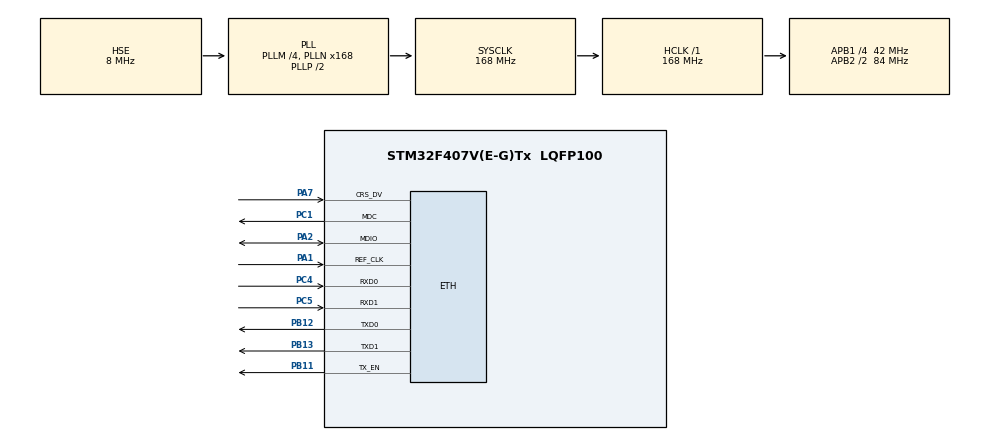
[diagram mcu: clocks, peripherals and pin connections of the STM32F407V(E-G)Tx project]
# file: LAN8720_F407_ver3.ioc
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ETH.MediaInterface=ETH_MEDIA_INTERFACE_RMII
ETH.RxMode=ETH_RXINTERRUPT_MODE
FREERTOS.Tasks01=defaultTask,0,256,StartDefaultTask,Default,NULL,Dynamic,NULL,NULL
FREERTOS.configMINIMAL_STACK_SIZE=256
LWIP.IP_ADDRESS=192.168.000.010
LWIP.LWIP_DHCP=0
LWIP.NETMASK_ADDRESS=255.255.255.000
LWIP.Version=v2.1.2_Cube
Mcu.Family=STM32F4
Mcu.Name=STM32F407V(E-G)Tx
Mcu.Package=LQFP100
NVIC.ETH_IRQn=true\:5\:0\:true\:false\:true\:false\:false\:true
NVIC.PriorityGroup=NVIC_PRIORITYGROUP_4
NVIC.TIM1_UP_TIM10_IRQn=true\:0\:0\:false\:false\:true\:false\:false\:true
NVIC.TimeBase=TIM1_UP_TIM10_IRQn
NVIC.TimeBaseIP=TIM1
PA1.Mode=RMII
PA1.Signal=ETH_REF_CLK
PA13.Mode=Serial_Wire
PA13.Signal=SYS_JTMS-SWDIO
PA14.Mode=Serial_Wire
PA14.Signal=SYS_JTCK-SWCLK
PA2.Mode=RMII
PA2.Signal=ETH_MDIO
PA7.Mode=RMII
PA7.Signal=ETH_CRS_DV
PB11.Mode=RMII
PB11.Signal=ETH_TX_EN
PB12.Mode=RMII
PB12.Signal=ETH_TXD0
PB13.Mode=RMII
PB13.Signal=ETH_TXD1
PC1.Mode=RMII
PC1.Signal=ETH_MDC
PC4.Mode=RMII
PC4.Signal=ETH_RXD0
PC5.Mode=RMII
PC5.Signal=ETH_RXD1
PH0-OSC_IN.Mode=HSE-External-Oscillator
PH0-OSC_IN.Signal=RCC_OSC_IN
PH1-OSC_OUT.Mode=HSE-External-Oscillator
PH1-OSC_OUT.Signal=RCC_OSC_OUT
ProjectManager.HeapSize=0x200
ProjectManager.StackSize=0x400
ProjectManager.TargetToolchain=STM32CubeIDE
RCC.48MHZClocksFreq_Value=84000000
RCC.AHBFreq_Value=168000000
RCC.APB1CLKDivider=RCC_HCLK_DIV4
RCC.APB1Freq_Value=42000000
RCC.APB1TimFreq_Value=84000000
RCC.APB2CLKDivider=RCC_HCLK_DIV2
RCC.APB2Freq_Value=84000000
RCC.APB2TimFreq_Value=168000000
RCC.CortexFreq_Value=168000000
RCC.HCLKFreq_Value=168000000
RCC.HSE_VALUE=8000000
RCC.HSI_VALUE=16000000
RCC.LSE_VALUE=32768
RCC.PLLM=4
RCC.PLLN=168
RCC.PLLSourceVirtual=RCC_PLLSOURCE_HSE
RCC.SYSCLKFreq_VALUE=168000000
RCC.SYSCLKSource=RCC_SYSCLKSOURCE_PLLCLK
RCC.VCOOutputFreq_Value=336000000
VP_FREERTOS_VS_CMSIS_V1.Mode=CMSIS_V1
VP_LWIP_VS_Enabled.Mode=Enabled
VP_SYS_VS_tim1.Mode=TIM1
board=custom

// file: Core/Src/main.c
/* USER CODE BEGIN Header */
/**
  ******************************************************************************
  * @file           : main.c
  * @brief          : Main program body
  ******************************************************************************
  * @attention
  *
  * <h2><center>&copy; Copyright (c) 2020 STMicroelectronics.
  * All rights reserved.</center></h2>
  *
  * This software component is licensed by ST under BSD 3-Clause license,
  * the "License"; You may not use this file except in compliance with the
  * License. You may obtain a copy of the License at:
  *                        opensource.org/licenses/BSD-3-Clause
  *
  ******************************************************************************
  */
/* USER CODE END Header */
#include "main.h"
#include "cmsis_os.h"
#include "lwip.h"
#include "gpio.h"

void SystemClock_Config(void);
void MX_FREERTOS_Init(void);
/* USER CODE BEGIN PFP */
extern void initialise_monitor_handles(void);
/* USER CODE END PFP */

int main(void)
{
  /* USER CODE BEGIN 1 */
	initialise_monitor_handles();
  /* USER CODE END 1 */

  /* MCU Configuration--------------------------------------------------------*/

  /* Reset of all peripherals, Initializes the Flash interface and the Systick. */
  HAL_Init();

  /* Configure the system clock */
  SystemClock_Config();

  /* Initialize all configured peripherals */
  MX_GPIO_Init();

  /* Call init function for freertos objects (in freertos.c) */
  MX_FREERTOS_Init();
  /* Start scheduler */
  osKernelStart();

  /* We should never get here as control is now taken by the scheduler */
  /* Infinite loop */
  while (1)
  {

  }
}

void SystemClock_Config(void)
{
  RCC_OscInitTypeDef RCC_OscInitStruct = {0};
  RCC_ClkInitTypeDef RCC_ClkInitStruct = {0};

  /** Configure the main internal regulator output voltage
  */
  __HAL_RCC_PWR_CLK_ENABLE();
  __HAL_PWR_VOLTAGESCALING_CONFIG(PWR_REGULATOR_VOLTAGE_SCALE1);
  /** Initializes the RCC Oscillators according to the specified parameters
  * in the RCC_OscInitTypeDef structure.
  */
  RCC_OscInitStruct.OscillatorType = RCC_OSCILLATORTYPE_HSE;
  RCC_OscInitStruct.HSEState = RCC_HSE_ON;
  RCC_OscInitStruct.PLL.PLLState = RCC_PLL_ON;
  RCC_OscInitStruct.PLL.PLLSource = RCC_PLLSOURCE_HSE;
  RCC_OscInitStruct.PLL.PLLM = 4;
  RCC_OscInitStruct.PLL.PLLN = 168;
  RCC_OscInitStruct.PLL.PLLP = RCC_PLLP_DIV2;
  RCC_OscInitStruct.PLL.PLLQ = 4;
  if (HAL_RCC_OscConfig(&RCC_OscInitStruct) != HAL_OK)
  {
    Error_Handler();
  }
  /** Initializes the CPU, AHB and APB buses clocks
  */
  RCC_ClkInitStruct.ClockType = RCC_CLOCKTYPE_HCLK|RCC_CLOCKTYPE_SYSCLK
                              |RCC_CLOCKTYPE_PCLK1|RCC_CLOCKTYPE_PCLK2;
  RCC_ClkInitStruct.SYSCLKSource = RCC_SYSCLKSOURCE_PLLCLK;
  RCC_ClkInitStruct.AHBCLKDivider = RCC_SYSCLK_DIV1;
  RCC_ClkInitStruct.APB1CLKDivider = RCC_HCLK_DIV4;
  RCC_ClkInitStruct.APB2CLKDivider = RCC_HCLK_DIV2;

  if (HAL_RCC_ClockConfig(&RCC_ClkInitStruct, FLASH_LATENCY_5) != HAL_OK)
  {
    Error_Handler();
  }
}

void HAL_TIM_PeriodElapsedCallback(TIM_HandleTypeDef *htim)
{
  if (htim->Instance == TIM1) {
    HAL_IncTick();
  }
}

void Error_Handler(void)
{
}

/************************ (C) COPYRIGHT STMicroelectronics *****END OF FILE****/

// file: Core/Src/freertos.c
/* USER CODE BEGIN Header */
/**
  ******************************************************************************
  * File Name          : freertos.c
  * Description        : Code for freertos applications
  ******************************************************************************
  * @attention
  *
  * <h2><center>&copy; Copyright (c) 2020 STMicroelectronics.
  * All rights reserved.</center></h2>
  *
  * This software component is licensed by ST under Ultimate Liberty license
  * SLA0044, the "License"; You may not use this file except in compliance with
  * the License. You may obtain a copy of the License at:
  *                             www.st.com/SLA0044
  *
  ******************************************************************************
  */
/* USER CODE END Header */

#include "FreeRTOS.h"
#include "task.h"
#include "main.h"
#include "cmsis_os.h"

/* USER CODE BEGIN Includes */
#include "stdio.h"
#include "lwip.h"
#include "lwip/api.h"
/* USER CODE END Includes */

osThreadId defaultTaskHandle;

void StartDefaultTask(void const * argument);

extern void MX_LWIP_Init(void);
void MX_FREERTOS_Init(void); /* (MISRA C 2004 rule 8.1) */

/* GetIdleTaskMemory prototype (linked to static allocation support) */
void vApplicationGetIdleTaskMemory( StaticTask_t **ppxIdleTaskTCBBuffer, StackType_t **ppxIdleTaskStackBuffer, uint32_t *pulIdleTaskStackSize );

/* USER CODE BEGIN GET_IDLE_TASK_MEMORY */
static StaticTask_t xIdleTaskTCBBuffer;
static StackType_t xIdleStack[configMINIMAL_STACK_SIZE];

void vApplicationGetIdleTaskMemory( StaticTask_t **ppxIdleTaskTCBBuffer, StackType_t **ppxIdleTaskStackBuffer, uint32_t *pulIdleTaskStackSize )
{
  *ppxIdleTaskTCBBuffer = &xIdleTaskTCBBuffer;
  *ppxIdleTaskStackBuffer = &xIdleStack[0];
  *pulIdleTaskStackSize = configMINIMAL_STACK_SIZE;
  /* place for user code */
}
/* USER CODE END GET_IDLE_TASK_MEMORY */

void MX_FREERTOS_Init(void) {

  /* Create the thread(s) */
  /* definition and creation of defaultTask */
  osThreadDef(defaultTask, StartDefaultTask, osPriorityNormal, 0, 256);
  defaultTaskHandle = osThreadCreate(osThread(defaultTask), NULL);

}

void StartDefaultTask(void const * argument)
{
  /* init code for LWIP */
  MX_LWIP_Init();
  /* USER CODE BEGIN StartDefaultTask */
  struct netconn *conn, *newconn;
  err_t err, accept_err;
  struct netbuf *buf;
  void *data;
  u16_t len;

  LWIP_UNUSED_ARG(argument);

  printf("before netconn_new\r\n");
  conn = netconn_new(NETCONN_TCP); //new tcp netconn

  if (conn != NULL){

	  err = netconn_bind(conn, NULL, 80); //bind to port 80

	  if (err == ERR_OK){

		  netconn_listen(conn); //listen at port 80

		  /* Infinite loop */
		  for(;;){

			  printf("before netconn_accept\r\n");
			  accept_err = netconn_accept(conn, &newconn); //accept new connection

			  if (accept_err == ERR_OK){ //accept ok

				  printf("before netconn_recv\r\n");
				while (netconn_recv(newconn, &buf) == ERR_OK){ //receive data
				  printf("after netconn_recv\r\n");

				  do{

					  netbuf_data(buf, &data, &len); //receive data pointer & length
					  printf("before netconn_write\r\n");
					  netconn_write(newconn, data, len, NETCONN_COPY); //echo back to the client
					  printf("after netconn_write\r\n");
				  } while (netbuf_next(buf) >= 0); //check buffer empty

				  netbuf_delete(buf); //clear buffer
				}
				netconn_close(newconn); //close session
				netconn_delete(newconn); //free memory
			  }
		  }
	  } else {
		netconn_delete(newconn); //free memory
	  }
  }

  /* USER CODE END StartDefaultTask */
}

/************************ (C) COPYRIGHT STMicroelectronics *****END OF FILE****/
